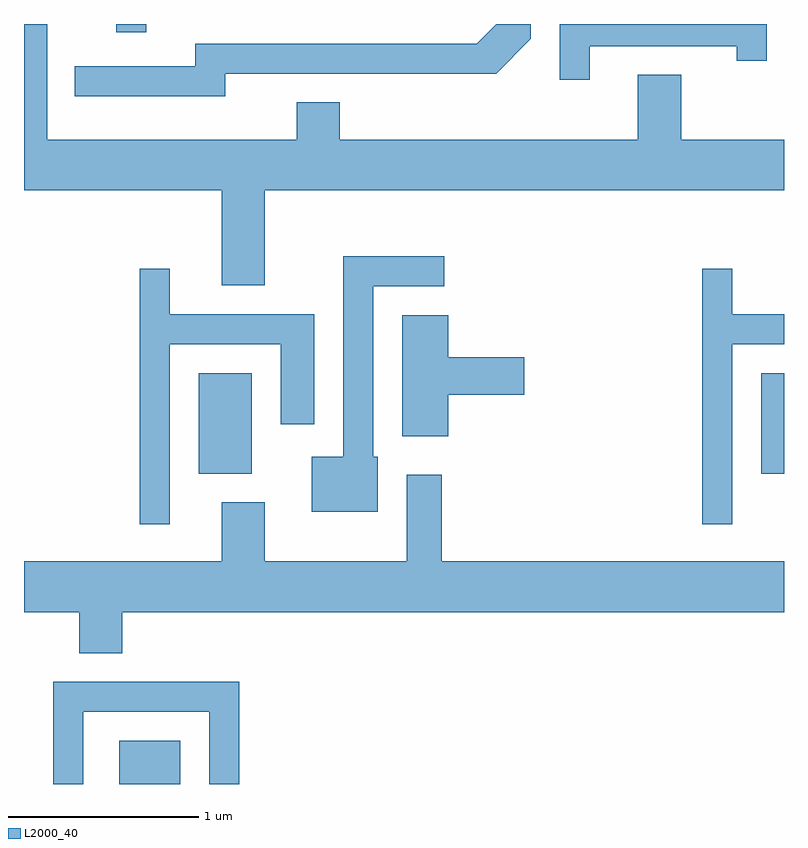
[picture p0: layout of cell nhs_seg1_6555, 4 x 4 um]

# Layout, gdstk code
import gdstk
lib = gdstk.Library(unit=1e-6, precision=1e-09)
def R(c, l, rs):  # rectangles x0, y0, x1, y1
    for r in rs: c.add(gdstk.rectangle(r[:2], r[2:], *l))
def P(c, l, *ps):  # polygons
    for p in ps: c.add(gdstk.Polygon(p, *l))
L2000_40 = (2000, 40)

nhs_seg1_6555 = lib.new_cell('nhs_seg1_6555')
R(nhs_seg1_6555, L2000_40, [(382.111,969.712,382.434,969.939), (382.531,971.346,382.809,971.874), (385.491,971.346,385.611,971.874), (382.096,973.668,382.254,973.712)])
P(nhs_seg1_6555, L2000_40, [(382.879,972.836),(385.611,972.836),(385.611,973.104),(385.069,973.104),(385.069,973.444),(384.841,973.444),(384.841,973.104),(383.274,973.104),(383.274,973.299),(383.046,973.299),(383.046,973.104),(381.734,973.104),(381.734,973.712),(381.611,973.712),(381.611,972.836),(382.651,972.836),(382.651,972.336),(382.879,972.336)],
  [(382.669,973.451),(384.097,973.451),(384.279,973.634),(384.279,973.712),(384.096,973.712),(383.994,973.609),(382.511,973.609),(382.511,973.489),(381.878,973.489),(381.878,973.331),(382.669,973.331)],
  [(384.589,973.596),(385.361,973.596),(385.361,973.518),(385.519,973.518),(385.519,973.712),(384.431,973.712),(384.431,973.418),(384.589,973.418)],
  [(383.474,971.434),(383.449,971.434),(383.449,972.331),(383.823,972.331),(383.823,972.489),(383.291,972.489),(383.291,971.434),(383.126,971.434),(383.126,971.146),(383.474,971.146)],
  [(385.339,972.026),(385.611,972.026),(385.611,972.184),(385.339,972.184),(385.339,972.423),(385.181,972.423),(385.181,971.078),(385.339,971.078)],
  [(382.379,972.026),(382.961,972.026),(382.961,971.606),(383.139,971.606),(383.139,972.184),(382.379,972.184),(382.379,972.423),(382.221,972.423),(382.221,971.078),(382.379,971.078)],
  [(383.844,971.761),(384.244,971.761),(384.244,971.959),(383.844,971.959),(383.844,972.179),(383.601,972.179),(383.601,971.541),(383.844,971.541)],
  [(382.129,970.616),(385.611,970.616),(385.611,970.884),(383.809,970.884),(383.809,971.339),(383.626,971.339),(383.626,970.884),(382.879,970.884),(382.879,971.194),(382.651,971.194),(382.651,970.884),(381.611,970.884),(381.611,970.616),(381.901,970.616),(381.901,970.401),(382.129,970.401)],
  [(381.924,970.091),(382.586,970.091),(382.586,969.712),(382.744,969.712),(382.744,970.249),(381.766,970.249),(381.766,969.712),(381.924,969.712)])

lib.write_gds('nhs_seg1_6555.gds')
